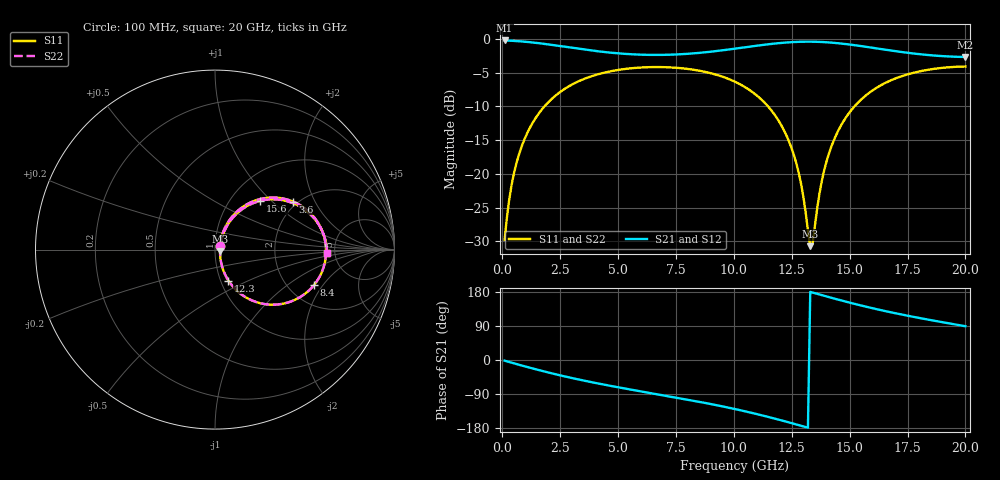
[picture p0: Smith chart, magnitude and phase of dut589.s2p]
! Touchstone file exported from HFSS 2026.1.0
!  File:  C:/ffzhzh/LocalFiles/Ansys_Project_Files/temp_train_TSV_RDL_589_1783120175_35180.aedt
!  Generated:  07:23:04 AM Jul  4, 2026
!  Design:  TSV_RDL
!  Project:  temp_train_TSV_RDL_589_1783120175_35180
! Variables:
!  h_bsmrdl = 2.67um
!  h_ox = 20um
!  h_rdl = 5um
!  h_sub = 59.75um
!  h_tmrdl = 5.57um
!  h_tsv = 59.75um
!  h_via = 3um
!  l_bsmrdl = 983.73um
!  l_sub = 4784.63um
!  l_tmrdl = 327.31um
!  m_sub = 200um
!  pitch = 55.73um
!  r_tsv = 11.16um
!  s_tmrdl = 10um
!  w_bsmrdl = 17.92um
!  w_sub = 500um
!  w_tmrdl = 23.48um
!  x_tsv_center1 = 339.05um
!  x_tsv_center2 = 1340.7um
!  x_tsv_center3 = 1691.49um
!  x_tsv_center4 = 2693.14um
!  x_tsv_center5 = 3043.93um
!  x_tsv_center6 = 4045.58um
# GHz S MA R 50.000000
! Terminal data exported
! Port[1] = TM_RDL1_1_T1
! Port[2] = TM_RDL5_1_T1
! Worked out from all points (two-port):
!   200 points, 100 MHz to 20 GHz, reference 50 ohm
!   highest |S21| = -0.23 dB at 100 MHz (marker M1); lowest = -2.7 dB at 20 GHz (marker M2)
!   |S21| within 3 dB of the highest: start of sweep to end of sweep
!   lowest |S11| = -30.7 dB at 13.3 GHz (marker M3), VSWR 1.06, Z = 52.9 - j0.844 ohm
!   |S11| at or under -10 dB: start of sweep to 1.82 GHz; 11.48 GHz to 15.21 GHz (3.731 GHz wide, 28 % of centre)
!   |S22| runs from -30.6 to -4.1 dB; largest |S21 - S12| = 3.3e-14
!   S11 on the Smith chart (normalised r, x): 100 MHz: 1.05, +0.04; 3.6 GHz: 1.89, +1.37; 8.4 GHz: 2.73, -1.65; 12.3 GHz: 1.09, -0.39; 15.6 GHz: 1.36, +0.85; 20 GHz: 4.31, -0.29
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0.1  0.03257 36.3  0.9742 -1.8  0.9742 -1.8  0.03257 36.3
! Gamma 0 0 0 0
! Port Impedance 50 0 50 0
0.3  0.06488 60.1  0.9713 -5.3  0.9713 -5.3  0.06488 60.1
0.5  0.1004 64.9  0.9672 -8.8  0.9672 -8.8  0.1004 64.9
1.1  0.2045 62.7  0.9492 -18.9  0.9492 -18.9  0.2045 62.7
2.1  0.3548 50.5  0.905 -34.6  0.905 -34.6  0.3548 50.5
3.5  0.5028 32.8  0.8361 -54.1  0.8361 -54.1  0.5028 32.8
3.6  0.5107 31.6  0.8316 -55.3  0.8316 -55.3  0.5107 31.6
5.2  0.5961 13.7  0.7773 -74.2  0.7773 -74.2  0.5961 13.7
6.8  0.6189 -2.9  0.7613 -91.5  0.7613 -91.5  0.6189 -2.9
8.4  0.5859 -19.7  0.7853 -109.1  0.7853 -109.1  0.5859 -19.7
10.1  0.4773 -39.5  0.8491 -130.1  0.8491 -130.1  0.4773 -39.4
11.4  0.3273 -56.2  0.9093 -148.9  0.9093 -148.9  0.3273 -56.1
12.3  0.1879 -66.6  0.9417 -163.4  0.9417 -163.4  0.188 -66.5
12.9  0.085 -65.7  0.9529 -173.5  0.9529 -173.5  0.0851 -65.4
13.3  0.02918 -15.9  0.9543 179.7  0.9543 179.7  0.02955 -15.6
13.4  0.03046 18.2  0.9539 178.0  0.9539 178.0  0.03083 18.0
13.8  0.08879 61.2  0.949 171.1  0.949 171.1  0.08893 61.0
14.2  0.1575 62.9  0.9393 164.4  0.9393 164.4  0.1576 62.8
15.6  0.3688 47.3  0.8798 142.2  0.8798 142.2  0.3688 47.3
16.7  0.4865 33.6  0.8247 126.9  0.8247 126.9  0.4865 33.5
18.4  0.5914 14.4  0.7595 106.4  0.7595 106.4  0.5915 14.4
20  0.625 -1.9  0.735 89.1  0.735 89.1  0.625 -1.9
